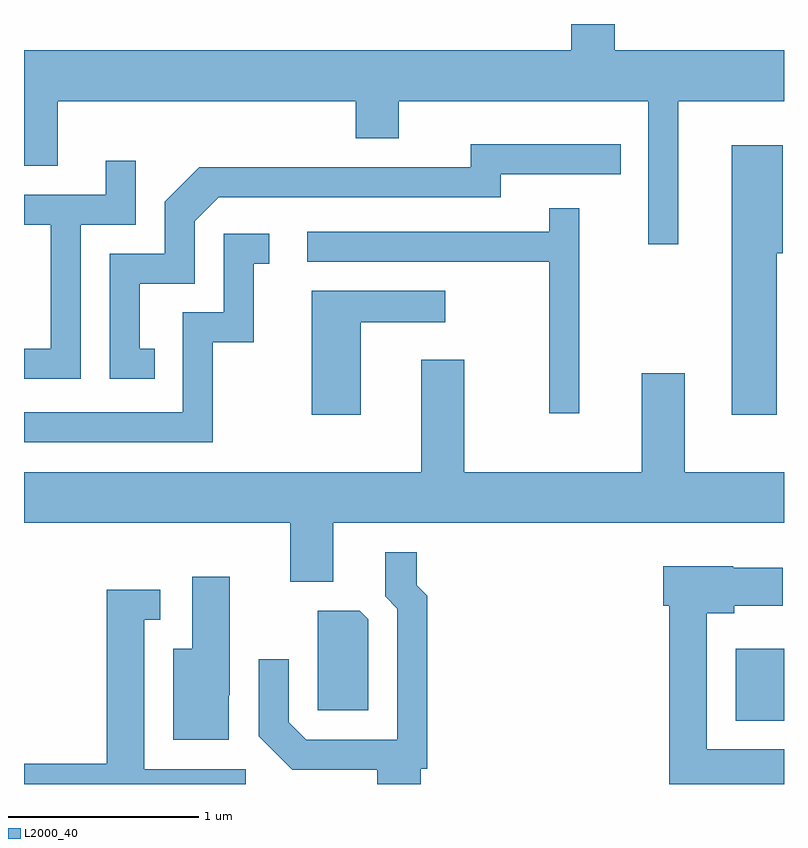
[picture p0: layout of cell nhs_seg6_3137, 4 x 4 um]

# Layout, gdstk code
import gdstk
lib = gdstk.Library(unit=1e-6, precision=1e-09)
def R(c, l, rs):  # rectangles x0, y0, x1, y1
    for r in rs: c.add(gdstk.rectangle(r[:2], r[2:], *l))
def P(c, l, *ps):  # polygons
    for p in ps: c.add(gdstk.Polygon(p, *l))
L2000_40 = (2000, 40)

nhs_seg6_3137 = lib.new_cell('nhs_seg6_3137')
R(nhs_seg6_3137, L2000_40, [(283.356,1604.496,283.611,1604.874)])
P(nhs_seg6_3137, L2000_40, [(283.054,1607.756),(283.611,1607.756),(283.611,1608.024),(282.719,1608.024),(282.719,1608.162),(282.491,1608.162),(282.491,1608.024),(279.611,1608.024),(279.611,1607.416),(279.789,1607.416),(279.789,1607.756),(281.356,1607.756),(281.356,1607.561),(281.584,1607.561),(281.584,1607.756),(282.896,1607.756),(282.896,1607.003),(283.054,1607.003)],
  [(280.298,1606.454),(280.219,1606.454),(280.219,1606.796),(280.509,1606.796),(280.509,1607.124),(280.637,1607.251),(282.119,1607.251),(282.119,1607.371),(282.753,1607.371),(282.753,1607.529),(281.961,1607.529),(281.961,1607.409),(280.534,1607.409),(280.351,1607.227),(280.351,1606.954),(280.061,1606.954),(280.061,1606.296),(280.298,1606.296)],
  [(283.574,1606.956),(283.604,1606.956),(283.604,1607.524),(283.336,1607.524),(283.336,1606.106),(283.574,1606.106)],
  [(279.909,1607.106),(280.199,1607.106),(280.199,1607.443),(280.041,1607.443),(280.041,1607.264),(279.611,1607.264),(279.611,1607.106),(279.751,1607.106),(279.751,1606.454),(279.611,1606.454),(279.611,1606.296),(279.909,1606.296)],
  [(282.534,1607.193),(282.376,1607.193),(282.376,1607.069),(281.103,1607.069),(281.103,1606.911),(282.376,1606.911),(282.376,1606.113),(282.534,1606.113)],
  [(280.604,1606.486),(280.819,1606.486),(280.819,1606.901),(280.903,1606.901),(280.903,1607.059),(280.661,1607.059),(280.661,1606.644),(280.446,1606.644),(280.446,1606.119),(279.611,1606.119),(279.611,1605.961),(280.604,1605.961)],
  [(281.384,1606.591),(281.828,1606.591),(281.828,1606.759),(281.126,1606.759),(281.126,1606.106),(281.384,1606.106)],
  [(281.239,1605.536),(283.611,1605.536),(283.611,1605.804),(283.089,1605.804),(283.089,1606.324),(282.861,1606.324),(282.861,1605.804),(281.929,1605.804),(281.929,1606.394),(281.701,1606.394),(281.701,1605.804),(279.611,1605.804),(279.611,1605.536),(281.011,1605.536),(281.011,1605.226),(281.239,1605.226)],
  [(281.699,1604.241),(281.734,1604.241),(281.734,1605.152),(281.679,1605.207),(281.679,1605.383),(281.511,1605.383),(281.511,1605.149),(281.576,1605.084),(281.576,1604.394),(281.097,1604.394),(281.004,1604.487),(281.004,1604.818),(280.846,1604.818),(280.846,1604.414),(281.024,1604.236),(281.471,1604.236),(281.471,1604.162),(281.699,1604.162)],
  [(283.611,1604.344),(283.204,1604.344),(283.204,1605.061),(283.349,1605.061),(283.349,1605.101),(283.604,1605.101),(283.604,1605.299),(283.345,1605.299),(283.345,1605.309),(282.976,1605.309),(282.976,1605.101),(283.006,1605.101),(283.006,1604.162),(283.611,1604.162)],
  [(280.689,1604.63),(280.694,1604.63),(280.694,1605.254),(280.496,1605.254),(280.496,1604.874),(280.396,1604.874),(280.396,1604.396),(280.689,1604.396)],
  [(280.779,1604.239),(280.244,1604.239),(280.244,1605.026),(280.328,1605.026),(280.328,1605.184),(280.046,1605.184),(280.046,1604.269),(279.611,1604.269),(279.611,1604.162),(280.779,1604.162)],
  [(281.424,1605.029),(281.379,1605.074),(281.156,1605.074),(281.156,1604.551),(281.424,1604.551)])

lib.write_gds('nhs_seg6_3137.gds')
